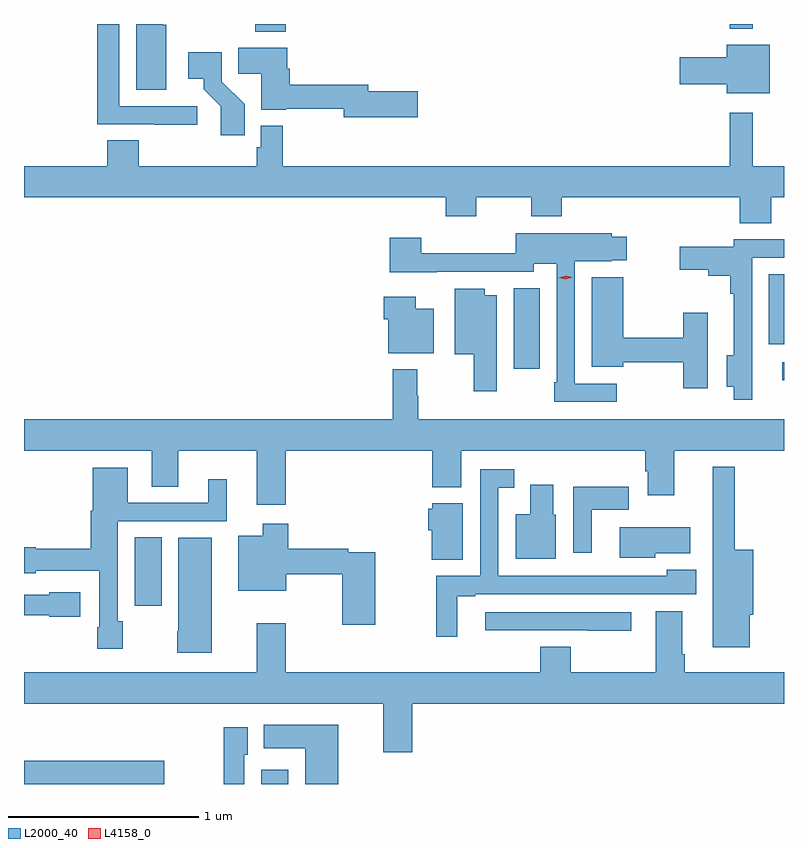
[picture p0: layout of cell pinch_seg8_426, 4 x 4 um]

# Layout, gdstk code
import gdstk
lib = gdstk.Library(unit=1e-6, precision=1e-09)
def R(c, l, rs):  # rectangles x0, y0, x1, y1
    for r in rs: c.add(gdstk.rectangle(r[:2], r[2:], *l))
def P(c, l, *ps):  # polygons
    for p in ps: c.add(gdstk.Polygon(p, *l))
L2000_40 = (2000, 40)
L4158_0 = (4158, 0)

pinch_seg8_426 = lib.new_cell('pinch_seg8_426')
R(pinch_seg8_426, L2000_40, [(256.013,1133.393,256.752,1133.515), (257.261,1133.393,257.404,1133.467), (256.595,1134.33,256.738,1134.692), (260.004,1135.517,260.013,1135.614), (258.59,1135.578,258.727,1136.003), (259.934,1135.707,260.013,1136.077), (257.23,1137.353,257.39,1137.393), (259.728,1137.368,259.849,1137.393)])
P(pinch_seg8_426, L2000_40, [(256.924,1136.961),(256.515,1136.961),(256.515,1137.393),(256.399,1137.393),(256.399,1136.865),(256.699,1136.865),(256.699,1136.863),(256.924,1136.863)],
  [(256.762,1137.39),(256.743,1137.39),(256.743,1137.393),(256.604,1137.393),(256.604,1137.046),(256.762,1137.046)],
  [(259.939,1137.283),(259.712,1137.283),(259.712,1137.218),(259.464,1137.218),(259.464,1137.076),(259.712,1137.076),(259.712,1137.029),(259.939,1137.029)],
  [(258.085,1137.038),(257.824,1137.038),(257.824,1137.074),(257.411,1137.074),(257.411,1137.158),(257.398,1137.158),(257.398,1137.268),(257.14,1137.268),(257.14,1137.13),(257.261,1137.13),(257.261,1136.942),(257.394,1136.942),(257.394,1136.946),(257.696,1136.946),(257.696,1136.903),(258.085,1136.903)],
  [(257.174,1136.97),(257.055,1137.089),(257.055,1137.244),(256.878,1137.244),(256.878,1137.104),(256.958,1137.104),(256.958,1137.049),(257.049,1136.959),(257.049,1136.808),(257.174,1136.808)],
  [(259.946,1136.48),(260.013,1136.48),(260.013,1136.644),(259.849,1136.644),(259.849,1136.926),(259.728,1136.926),(259.728,1136.644),(257.375,1136.644),(257.375,1136.857),(257.259,1136.857),(257.259,1136.745),(257.239,1136.745),(257.239,1136.644),(256.616,1136.644),(256.616,1136.78),(256.451,1136.78),(256.451,1136.644),(256.013,1136.644),(256.013,1136.48),(258.233,1136.48),(258.233,1136.381),(258.392,1136.381),(258.392,1136.48),(258.682,1136.48),(258.682,1136.381),(258.842,1136.381),(258.842,1136.48),(259.781,1136.48),(259.781,1136.344),(259.946,1136.344)],
  [(259.132,1135.5),(258.912,1135.5),(258.912,1136.144),(259.107,1136.144),(259.107,1136.15),(259.186,1136.15),(259.186,1136.272),(259.107,1136.272),(259.107,1136.293),(258.6,1136.293),(258.6,1136.186),(258.104,1136.186),(258.104,1136.269),(257.939,1136.269),(257.939,1136.087),(258.185,1136.087),(258.185,1136.088),(258.696,1136.088),(258.696,1136.132),(258.816,1136.132),(258.816,1135.507),(258.804,1135.507),(258.804,1135.404),(259.132,1135.404)],
  [(259.846,1135.638),(259.845,1135.638),(259.845,1136.163),(260.013,1136.163),(260.013,1136.259),(259.748,1136.259),(259.748,1136.221),(259.464,1136.221),(259.464,1136.099),(259.613,1136.099),(259.613,1136.069),(259.729,1136.069),(259.729,1135.973),(259.748,1135.973),(259.748,1135.65),(259.712,1135.65),(259.712,1135.484),(259.748,1135.484),(259.748,1135.416),(259.846,1135.416)],
  [(259.612,1135.873),(259.483,1135.873),(259.483,1135.742),(259.168,1135.742),(259.168,1136.059),(259.001,1136.059),(259.001,1135.589),(259.168,1135.589),(259.168,1135.614),(259.483,1135.614),(259.483,1135.476),(259.612,1135.476)],
  [(258.502,1135.966),(258.439,1135.966),(258.439,1135.999),(258.281,1135.999),(258.281,1135.655),(258.38,1135.655),(258.38,1135.461),(258.502,1135.461)],
  [(258.169,1135.894),(258.076,1135.894),(258.076,1135.957),(257.906,1135.957),(257.906,1135.839),(257.93,1135.839),(257.93,1135.661),(258.169,1135.661)],
  [(257.39,1135.148),(258.161,1135.148),(258.161,1134.956),(258.313,1134.956),(258.313,1135.148),(259.283,1135.148),(259.283,1135.038),(259.295,1135.038),(259.295,1134.912),(259.435,1134.912),(259.435,1135.148),(260.013,1135.148),(260.013,1135.312),(258.089,1135.312),(258.089,1135.436),(258.082,1135.436),(258.082,1135.576),(257.953,1135.576),(257.953,1135.312),(256.013,1135.312),(256.013,1135.148),(256.685,1135.148),(256.685,1134.958),(256.825,1134.958),(256.825,1135.148),(257.237,1135.148),(257.237,1134.864),(257.39,1134.864)],
  [(259.834,1134.285),(259.852,1134.285),(259.852,1134.625),(259.754,1134.625),(259.754,1135.063),(259.637,1135.063),(259.637,1134.841),(259.638,1134.841),(259.638,1134.516),(259.637,1134.516),(259.637,1134.113),(259.834,1134.113)],
  [(256.533,1134.249),(256.506,1134.249),(256.506,1134.777),(257.08,1134.777),(257.08,1134.997),(256.982,1134.997),(256.982,1134.873),(256.558,1134.873),(256.558,1135.057),(256.376,1135.057),(256.376,1134.831),(256.364,1134.831),(256.364,1134.632),(256.074,1134.632),(256.074,1134.64),(256.013,1134.64),(256.013,1134.503),(256.074,1134.503),(256.074,1134.516),(256.41,1134.516),(256.41,1134.217),(256.398,1134.217),(256.398,1134.105),(256.533,1134.105)],
  [(258.292,1134.381),(258.388,1134.381),(258.388,1134.393),(259.552,1134.393),(259.552,1134.52),(259.397,1134.52),(259.397,1134.489),(258.51,1134.489),(258.51,1134.953),(258.592,1134.953),(258.592,1135.05),(258.414,1135.05),(258.414,1134.489),(258.183,1134.489),(258.183,1134.168),(258.292,1134.168)],
  [(258.811,1134.81),(258.799,1134.81),(258.799,1134.967),(258.677,1134.967),(258.677,1134.814),(258.602,1134.814),(258.602,1134.578),(258.811,1134.578)],
  [(259,1134.836),(259.195,1134.836),(259.195,1134.958),(258.903,1134.958),(258.903,1134.609),(259,1134.609)],
  [(258.322,1134.871),(258.162,1134.871),(258.162,1134.843),(258.14,1134.843),(258.14,1134.729),(258.158,1134.729),(258.158,1134.574),(258.322,1134.574)],
  [(257.862,1134.612),(257.72,1134.612),(257.72,1134.632),(257.404,1134.632),(257.404,1134.763),(257.27,1134.763),(257.27,1134.7),(257.141,1134.7),(257.141,1134.41),(257.392,1134.41),(257.392,1134.496),(257.689,1134.496),(257.689,1134.231),(257.862,1134.231)],
  [(259.335,1134.608),(259.519,1134.608),(259.519,1134.745),(259.149,1134.745),(259.149,1134.584),(259.335,1134.584)],
  [(257.002,1134.688),(256.826,1134.688),(256.826,1134.196),(256.819,1134.196),(256.819,1134.084),(257.002,1134.084)],
  [(256.309,1134.403),(256.146,1134.403),(256.146,1134.39),(256.013,1134.39),(256.013,1134.282),(256.146,1134.282),(256.146,1134.274),(256.309,1134.274)],
  [(258.056,1133.816),(260.013,1133.816),(260.013,1133.98),(259.49,1133.98),(259.49,1134.076),(259.477,1134.076),(259.477,1134.301),(259.337,1134.301),(259.337,1133.98),(258.891,1133.98),(258.891,1134.116),(258.731,1134.116),(258.731,1133.98),(257.39,1133.98),(257.39,1134.238),(257.237,1134.238),(257.237,1133.98),(256.013,1133.98),(256.013,1133.816),(257.903,1133.816),(257.903,1133.559),(258.056,1133.559)],
  [(259.21,1134.297),(258.441,1134.297),(258.441,1134.201),(258.979,1134.201),(258.979,1134.199),(259.21,1134.199)],
  [(257.668,1133.704),(257.276,1133.704),(257.276,1133.582),(257.492,1133.582),(257.492,1133.393),(257.668,1133.393)],
  [(257.172,1133.547),(257.191,1133.547),(257.191,1133.692),(257.064,1133.692),(257.064,1133.393),(257.172,1133.393)])
P(pinch_seg8_426, L4158_0, [(258.864,1136.049),(258.828,1136.058),(258.828,1136.058),(258.828,1136.058),(258.863,1136.069),(258.898,1136.06),(258.899,1136.059),(258.898,1136.059)])

lib.write_gds('pinch_seg8_426.gds')
